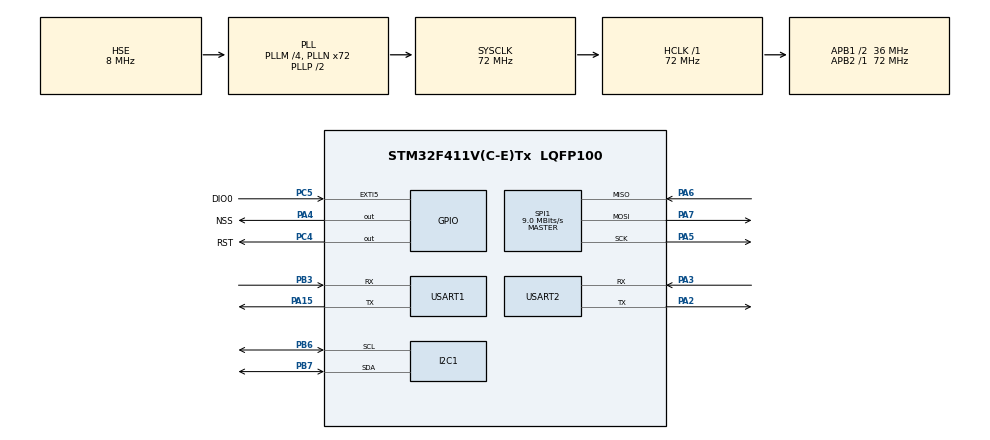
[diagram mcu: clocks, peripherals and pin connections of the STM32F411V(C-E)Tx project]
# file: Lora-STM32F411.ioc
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Mcu.Family=STM32F4
Mcu.Name=STM32F411V(C-E)Tx
Mcu.Package=LQFP100
NVIC.PriorityGroup=NVIC_PRIORITYGROUP_4
NVIC.SPI1_IRQn=true\:0\:0\:false\:false\:true\:true\:true\:true
NVIC.USART1_IRQn=true\:1\:0\:true\:false\:true\:true\:true\:true
PA13.Mode=Serial_Wire
PA13.Signal=SYS_JTMS-SWDIO
PA14.Mode=Serial_Wire
PA14.Signal=SYS_JTCK-SWCLK
PA15.Mode=Asynchronous
PA15.Signal=USART1_TX
PA2.Mode=Asynchronous
PA2.Signal=USART2_TX
PA3.Mode=Asynchronous
PA3.Signal=USART2_RX
PA4.GPIO_Label=NSS
PA4.Signal=GPIO_Output
PA5.Mode=Full_Duplex_Master
PA5.Signal=SPI1_SCK
PA6.Mode=Full_Duplex_Master
PA6.Signal=SPI1_MISO
PA7.Mode=Full_Duplex_Master
PA7.Signal=SPI1_MOSI
PB3.Mode=Asynchronous
PB3.Signal=USART1_RX
PB6.Mode=I2C
PB6.Signal=I2C1_SCL
PB7.Mode=I2C
PB7.Signal=I2C1_SDA
PC4.GPIO_Label=RST
PC4.Signal=GPIO_Output
PC5.GPIO_Label=DIO0
PC5.Signal=GPXTI5
PH0\ -\ OSC_IN.Mode=HSE-External-Oscillator
PH0\ -\ OSC_IN.Signal=RCC_OSC_IN
PH1\ -\ OSC_OUT.Mode=HSE-External-Oscillator
PH1\ -\ OSC_OUT.Signal=RCC_OSC_OUT
ProjectManager.HeapSize=0x200
ProjectManager.StackSize=0x400
ProjectManager.TargetToolchain=STM32CubeIDE
RCC.48MHZClocksFreq_Value=36000000
RCC.AHBFreq_Value=72000000
RCC.APB1CLKDivider=RCC_HCLK_DIV2
RCC.APB1Freq_Value=36000000
RCC.APB1TimFreq_Value=72000000
RCC.APB2Freq_Value=72000000
RCC.APB2TimFreq_Value=72000000
RCC.CortexFreq_Value=72000000
RCC.HCLKFreq_Value=72000000
RCC.HSE_VALUE=8000000
RCC.HSI_VALUE=16000000
RCC.LSE_VALUE=32768
RCC.PLLM=4
RCC.PLLN=72
RCC.PLLSourceVirtual=RCC_PLLSOURCE_HSE
RCC.SYSCLKFreq_VALUE=72000000
RCC.SYSCLKSource=RCC_SYSCLKSOURCE_PLLCLK
RCC.VCOOutputFreq_Value=144000000
SPI1.BaudRatePrescaler=SPI_BAUDRATEPRESCALER_8
SPI1.CalculateBaudRate=9.0 MBits/s
SPI1.Direction=SPI_DIRECTION_2LINES
SPI1.Mode=SPI_MODE_MASTER
SPI1.VirtualType=VM_MASTER
USART1.VirtualMode=VM_ASYNC
USART2.VirtualMode=VM_ASYNC
board=custom

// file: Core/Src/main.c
/* USER CODE BEGIN Header */
/**
  ******************************************************************************
  * @file           : main.c
  * @brief          : Main program body
  ******************************************************************************
  * @attention
  *
  * Copyright (c) 2023 STMicroelectronics.
  * All rights reserved.
  *
  * This software is licensed under terms that can be found in the LICENSE file
  * in the root directory of this software component.
  * If no LICENSE file comes with this software, it is provided AS-IS.
  *
  ******************************************************************************
  */
/* USER CODE END Header */
#include "main.h"

/* USER CODE BEGIN Includes */
#include "lora.h"
#include "lcd.h"
#include "ESPDataLogger.h"
#include <string.h>
#include <stdio.h>
/* USER CODE END Includes */

I2C_HandleTypeDef hi2c1;

SPI_HandleTypeDef hspi1;

UART_HandleTypeDef huart1;
UART_HandleTypeDef huart2;

/* USER CODE BEGIN PV */
lora_pins_t lora_pins;							// Structure variable for lora pins
lora_t lora;									// Structure variable for lora

char msg[64];									// character buffer for printf
char buf[13];									// buf save data
char buf_temp[6];
char buf_humi[6];
uint16_t Val_ESP[2];
/* USER CODE END PV */

void SystemClock_Config(void);
static void MX_GPIO_Init(void);
static void MX_SPI1_Init(void);
static void MX_USART2_UART_Init(void);
static void MX_I2C1_Init(void);
static void MX_USART1_UART_Init(void);

/* USER CODE BEGIN 0 */

void Display_Temp(char* Temp) {
	lcd_put_cur(0, 7);
	lcd_send_string(Temp);
}

void Display_Rh(char* Humi) {
	lcd_put_cur(1, 7);
	lcd_send_string(Humi);
}
void Config_Lora(){
  	lora_pins.dio0.port  = LORA_DIO0_PORT;
  	lora_pins.dio0.pin   = LORA_DIO0_PIN;
  	lora_pins.nss.port   = LORA_SS_PORT;				// NSS pin to which port is connected
  	lora_pins.nss.pin    = LORA_SS_PIN;					// NSS pin to which pin is connected
  	lora_pins.reset.port = LORA_RESET_PORT;			// RESET pin to which port is connected
  	lora_pins.reset.pin  = LORA_RESET_PIN;			// RESET pin to which pin is connected
  	lora_pins.spi  			 = &hspi1;

  	lora.pin = &lora_pins;
  	lora.frequency = FREQ_433MHZ;								// 433MHZ Frequency
  	//lora.frequency = FREQ_865MHZ;								// 865MHZ Frequency
  	//lora.frequency = FREQ_866MHZ;								// 866MHZ Frequency
  	//lora.frequency = FREQ_867MHZ;								// 867MHZ Frequency

	sprintf(msg,"Configuring LoRa module\r\n");
  	  		HAL_UART_Transmit(&huart2,(uint8_t *)msg,strlen(msg),1000);
  		while(lora_init(&lora)){										// Initialize the lora module
  			sprintf(msg,"LoRa Failed\r\n");
  			HAL_UART_Transmit(&huart2,(uint8_t *)msg,strlen(msg),1000);
  			HAL_Delay(1000);
  		}
  		sprintf(msg,"Done configuring LoRaModule\r\n");
  		HAL_UART_Transmit(&huart2,(uint8_t *)msg,strlen(msg),1000);
}
void lcd_config(){
	lcd_init();
  		lcd_clear();
  		lcd_send_string("TEMP :         C");
  		lcd_put_cur(1, 0);
  		lcd_send_string("HUMI :        %");
  		lcd_put_cur(0, 14);
  		lcd_send_data(0b11011111);
}
/* USER CODE END 0 */

int main(void)
{

  /* MCU Configuration--------------------------------------------------------*/

  /* Reset of all peripherals, Initializes the Flash interface and the Systick. */
  HAL_Init();

  /* Configure the system clock */
  SystemClock_Config();

  /* Initialize all configured peripherals */
  MX_GPIO_Init();
  MX_SPI1_Init();
  MX_USART2_UART_Init();
  MX_I2C1_Init();
  MX_USART1_UART_Init();
  /* USER CODE BEGIN 2 */

Config_Lora();
lcd_config();
ESP_Init("NHASAU", "danh1005");
  /* USER CODE END 2 */

  /* Infinite loop */
  while (1)
  {

    /* USER CODE BEGIN 3 */

//	  	  /*LORA TRANSMITDATA BEGIN*/
//		  sprintf(buf,"OK");
//		  lora_begin_packet(&lora);
//		  lora_tx(&lora, (uint8_t *)buf, strlen(buf));
//		  lora_end_packet(&lora);
//		  sprintf(msg,"Sending packet \r\n");
//		  HAL_UART_Transmit(&huart2,(uint8_t *)msg,strlen(msg),1000);
//		  HAL_Delay(1000);
//	  	  /*LORA TRANSMITDATA END*/

		  /*RECEIVE data via LORA BEGIN*/
	  uint8_t ret = lora_prasePacket(&lora);
		if(ret){
			uint8_t i=0;
			while(lora_available(&lora)){
				buf[i] = lora_read(&lora);
				i++;
			}
			buf[i] = '\0';
			/*RECEIVE data via LORA END*/

			 /*cut string to buf_temp and buf_humi BEGIN*/
					  strncpy( buf_temp, buf, 5);
					  buf_temp[6]='\0';
					  strncpy( buf_humi, buf+6, 5);
					  buf_humi[6]='\0';
				Display_Temp(buf_temp);
				Display_Rh(buf_humi);
				Val_ESP[0]=atoi(buf_temp);
				Val_ESP[1]=atoi(buf_humi);
			/*cut string to buf_temp and buf_humi END */
			sprintf(msg,"\nDHT11----\n");
			HAL_UART_Transmit(&huart2,(uint8_t *)msg,strlen(msg),1000);
			sprintf(msg,"Temperate : %s\r\n",buf_temp);
			HAL_UART_Transmit(&huart2,(uint8_t *)msg,strlen(msg),1000);
			sprintf(msg,"Humidity  : %s\r\n",buf_humi);
			HAL_UART_Transmit(&huart2,(uint8_t *)msg,strlen(msg),1000);
			ESP_Send_Multi("GVGK3A0U71TWQ0MN", 2, Val_ESP);
			}
		 /*RECEIVE data via LORA BEGIN*/

  }
  /* USER CODE END 3 */
}

void SystemClock_Config(void)
{
  RCC_OscInitTypeDef RCC_OscInitStruct = {0};
  RCC_ClkInitTypeDef RCC_ClkInitStruct = {0};

  /** Configure the main internal regulator output voltage
  */
  __HAL_RCC_PWR_CLK_ENABLE();
  __HAL_PWR_VOLTAGESCALING_CONFIG(PWR_REGULATOR_VOLTAGE_SCALE1);

  /** Initializes the RCC Oscillators according to the specified parameters
  * in the RCC_OscInitTypeDef structure.
  */
  RCC_OscInitStruct.OscillatorType = RCC_OSCILLATORTYPE_HSE;
  RCC_OscInitStruct.HSEState = RCC_HSE_ON;
  RCC_OscInitStruct.PLL.PLLState = RCC_PLL_ON;
  RCC_OscInitStruct.PLL.PLLSource = RCC_PLLSOURCE_HSE;
  RCC_OscInitStruct.PLL.PLLM = 4;
  RCC_OscInitStruct.PLL.PLLN = 72;
  RCC_OscInitStruct.PLL.PLLP = RCC_PLLP_DIV2;
  RCC_OscInitStruct.PLL.PLLQ = 4;
  if (HAL_RCC_OscConfig(&RCC_OscInitStruct) != HAL_OK)
  {
    Error_Handler();
  }

  /** Initializes the CPU, AHB and APB buses clocks
  */
  RCC_ClkInitStruct.ClockType = RCC_CLOCKTYPE_HCLK|RCC_CLOCKTYPE_SYSCLK
                              |RCC_CLOCKTYPE_PCLK1|RCC_CLOCKTYPE_PCLK2;
  RCC_ClkInitStruct.SYSCLKSource = RCC_SYSCLKSOURCE_PLLCLK;
  RCC_ClkInitStruct.AHBCLKDivider = RCC_SYSCLK_DIV1;
  RCC_ClkInitStruct.APB1CLKDivider = RCC_HCLK_DIV2;
  RCC_ClkInitStruct.APB2CLKDivider = RCC_HCLK_DIV1;

  if (HAL_RCC_ClockConfig(&RCC_ClkInitStruct, FLASH_LATENCY_2) != HAL_OK)
  {
    Error_Handler();
  }
}

static void MX_I2C1_Init(void)
{

  hi2c1.Instance = I2C1;
  hi2c1.Init.ClockSpeed = 100000;
  hi2c1.Init.DutyCycle = I2C_DUTYCYCLE_2;
  hi2c1.Init.OwnAddress1 = 0;
  hi2c1.Init.AddressingMode = I2C_ADDRESSINGMODE_7BIT;
  hi2c1.Init.DualAddressMode = I2C_DUALADDRESS_DISABLE;
  hi2c1.Init.OwnAddress2 = 0;
  hi2c1.Init.GeneralCallMode = I2C_GENERALCALL_DISABLE;
  hi2c1.Init.NoStretchMode = I2C_NOSTRETCH_DISABLE;
  if (HAL_I2C_Init(&hi2c1) != HAL_OK)
  {
    Error_Handler();
  }

}

static void MX_SPI1_Init(void)
{

  /* SPI1 parameter configuration*/
  hspi1.Instance = SPI1;
  hspi1.Init.Mode = SPI_MODE_MASTER;
  hspi1.Init.Direction = SPI_DIRECTION_2LINES;
  hspi1.Init.DataSize = SPI_DATASIZE_8BIT;
  hspi1.Init.CLKPolarity = SPI_POLARITY_LOW;
  hspi1.Init.CLKPhase = SPI_PHASE_1EDGE;
  hspi1.Init.NSS = SPI_NSS_SOFT;
  hspi1.Init.BaudRatePrescaler = SPI_BAUDRATEPRESCALER_8;
  hspi1.Init.FirstBit = SPI_FIRSTBIT_MSB;
  hspi1.Init.TIMode = SPI_TIMODE_DISABLE;
  hspi1.Init.CRCCalculation = SPI_CRCCALCULATION_DISABLE;
  hspi1.Init.CRCPolynomial = 10;
  if (HAL_SPI_Init(&hspi1) != HAL_OK)
  {
    Error_Handler();
  }

}

static void MX_USART1_UART_Init(void)
{

  huart1.Instance = USART1;
  huart1.Init.BaudRate = 115200;
  huart1.Init.WordLength = UART_WORDLENGTH_8B;
  huart1.Init.StopBits = UART_STOPBITS_1;
  huart1.Init.Parity = UART_PARITY_NONE;
  huart1.Init.Mode = UART_MODE_TX_RX;
  huart1.Init.HwFlowCtl = UART_HWCONTROL_NONE;
  huart1.Init.OverSampling = UART_OVERSAMPLING_16;
  if (HAL_UART_Init(&huart1) != HAL_OK)
  {
    Error_Handler();
  }

}

static void MX_USART2_UART_Init(void)
{

  huart2.Instance = USART2;
  huart2.Init.BaudRate = 115200;
  huart2.Init.WordLength = UART_WORDLENGTH_8B;
  huart2.Init.StopBits = UART_STOPBITS_1;
  huart2.Init.Parity = UART_PARITY_NONE;
  huart2.Init.Mode = UART_MODE_TX_RX;
  huart2.Init.HwFlowCtl = UART_HWCONTROL_NONE;
  huart2.Init.OverSampling = UART_OVERSAMPLING_16;
  if (HAL_UART_Init(&huart2) != HAL_OK)
  {
    Error_Handler();
  }

}

static void MX_GPIO_Init(void)
{
  GPIO_InitTypeDef GPIO_InitStruct = {0};

  /* GPIO Ports Clock Enable */
  __HAL_RCC_GPIOH_CLK_ENABLE();
  __HAL_RCC_GPIOA_CLK_ENABLE();
  __HAL_RCC_GPIOC_CLK_ENABLE();
  __HAL_RCC_GPIOB_CLK_ENABLE();

  /*Configure GPIO pin Output Level */
  HAL_GPIO_WritePin(NSS_GPIO_Port, NSS_Pin, GPIO_PIN_RESET);

  /*Configure GPIO pin Output Level */
  HAL_GPIO_WritePin(RST_GPIO_Port, RST_Pin, GPIO_PIN_RESET);

  /*Configure GPIO pin : NSS_Pin */
  GPIO_InitStruct.Pin = NSS_Pin;
  GPIO_InitStruct.Mode = GPIO_MODE_OUTPUT_PP;
  GPIO_InitStruct.Pull = GPIO_NOPULL;
  GPIO_InitStruct.Speed = GPIO_SPEED_FREQ_LOW;
  HAL_GPIO_Init(NSS_GPIO_Port, &GPIO_InitStruct);

  /*Configure GPIO pin : RST_Pin */
  GPIO_InitStruct.Pin = RST_Pin;
  GPIO_InitStruct.Mode = GPIO_MODE_OUTPUT_PP;
  GPIO_InitStruct.Pull = GPIO_NOPULL;
  GPIO_InitStruct.Speed = GPIO_SPEED_FREQ_LOW;
  HAL_GPIO_Init(RST_GPIO_Port, &GPIO_InitStruct);

  /*Configure GPIO pin : DIO0_Pin */
  GPIO_InitStruct.Pin = DIO0_Pin;
  GPIO_InitStruct.Mode = GPIO_MODE_IT_RISING;
  GPIO_InitStruct.Pull = GPIO_NOPULL;
  HAL_GPIO_Init(DIO0_GPIO_Port, &GPIO_InitStruct);

}

void Error_Handler(void)
{
  __disable_irq();
  while (1)
  {
  }
}
